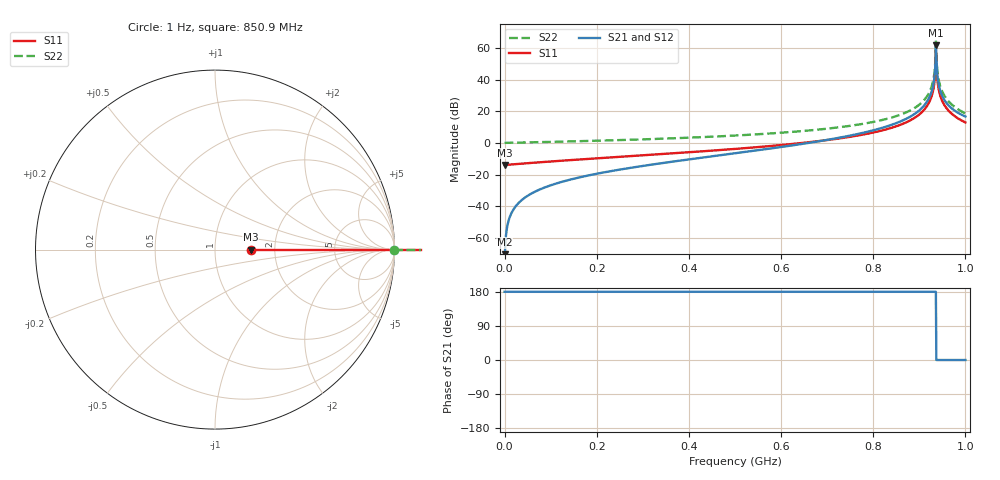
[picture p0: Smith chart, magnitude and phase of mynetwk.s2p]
! Created Thu Nov 11 11:09:06 2010
!Created with skrf (http://scikit-rf.org).
# GHz S RI R 50.0
!freq ReS11 ImS11 ReS21 ImS21 ReS12 ImS12 ReS22 ImS22
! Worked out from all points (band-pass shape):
!   1000 points, 1 Hz to 1 GHz, reference 50 ohm
!   highest |S21| = 61.72 dB at 935.9 MHz (marker M1); lowest = -188.0 dB at 1 Hz (marker M2)
!   |S21| within 3 dB of the highest: 935.6879 MHz to 936.4264 MHz (738.4 kHz wide, 0.0789 % of centre)
!   lowest |S11| = -14.0 dB at 1 Hz (marker M3), VSWR 1.50, Z = 75 + j0 ohm
!   |S11| at or under -10 dB: start of sweep to 187.7 MHz
!   |S22| runs from 0.0 to 64.7 dB; largest |S21 - S12| = 0
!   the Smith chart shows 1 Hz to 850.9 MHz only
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1e-09  0.2 0  -4e-10 0  -4e-10 0  1 0
0.1671672  0.302 0  -0.0842 0  -0.0842 0  1.135 0
0.3333333  0.4353 0  -0.2205 0  -0.2205 0  1.341 0
0.5005005  0.6445 0  -0.4698 0  -0.4698 0  1.706 0
0.6666667  1.072 0  -1.034 0  -1.034 0  2.513 0
0.8338338  2.822 0  -3.469 0  -3.469 0  5.964 0
0.8968969  7.292 0  -9.773 0  -9.773 0  14.87 0
0.9209209  18.64 0  -25.81 0  -25.81 0  37.53 0
0.9259259  27.64 0  -38.52 0  -38.52 0  55.5 0
0.9289289  38.94 0  -54.48 0  -54.48 0  78.05 0
0.9299299  45.08 0  -63.16 0  -63.16 0  90.32 0
0.9309309  53.53 0  -75.1 0  -75.1 0  107.2 0
0.9319319  65.88 0  -92.55 0  -92.55 0  131.8 0
0.9359359  862.8 0  -1219 0  -1219 0  1723 0
0.9389389  -106.7 -0  151.4 -0  151.4 -0  -212.8 -0
0.9409409  -61.01 -0  86.74 -0  86.74 -0  -121.5 -0
0.9419419  -50.24 -0  71.52 -0  71.52 -0  -100 -0
0.9429429  -42.7 -0  60.87 -0  60.87 -0  -84.94 -0
0.9439439  -37.12 -0  53 -0  53 -0  -73.81 -0
0.950951  -19.38 -0  27.93 -0  27.93 -0  -38.4 -0
0.966967  -9.244 -0  13.61 -0  13.61 -0  -18.16 -0
1  -4.422 -0  6.8 -0  6.8 -0  -8.537 -0
